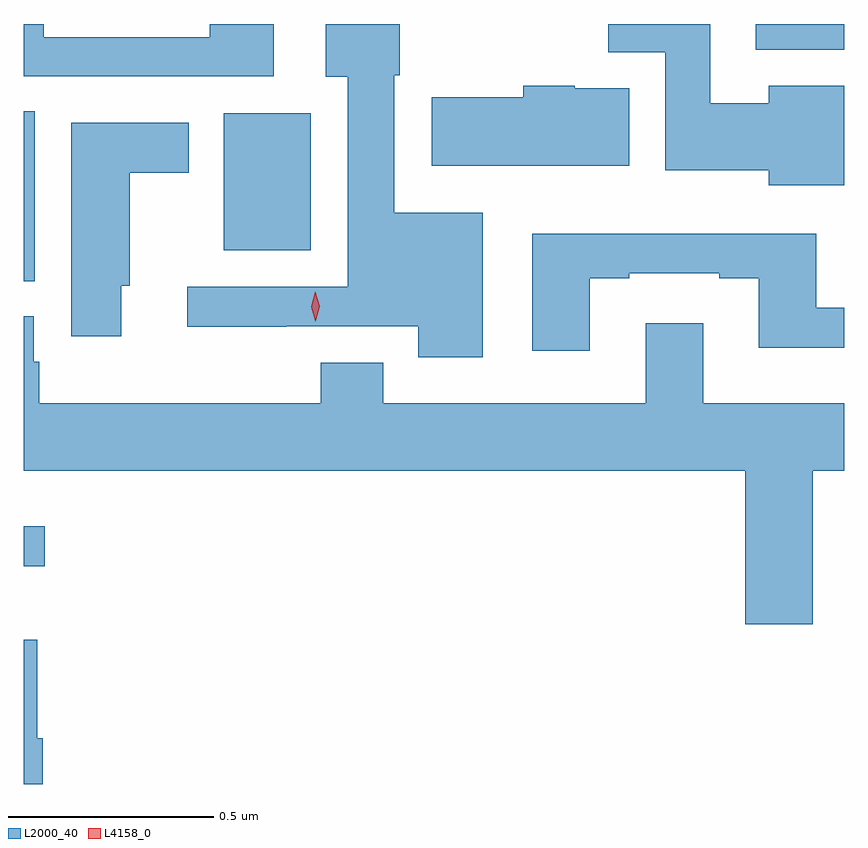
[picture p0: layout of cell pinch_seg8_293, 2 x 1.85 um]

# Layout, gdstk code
import gdstk
lib = gdstk.Library(unit=1e-6, precision=1e-09)
def R(c, l, rs):  # rectangles x0, y0, x1, y1
    for r in rs: c.add(gdstk.rectangle(r[:2], r[2:], *l))
def P(c, l, *ps):  # polygons
    for p in ps: c.add(gdstk.Polygon(p, *l))
L2000_40 = (2000, 40)
L4158_0 = (4158, 0)

pinch_seg8_293 = lib.new_cell('pinch_seg8_293')
R(pinch_seg8_293, L2000_40, [(510.901,1145.571,510.952,1145.668), (510.901,1146.266,510.928,1146.68), (511.388,1146.341,511.6,1146.676), (512.685,1146.83,512.901,1146.893)])
P(pinch_seg8_293, L2000_40, [(512.02,1146.433),(511.804,1146.433),(511.804,1146.768),(511.817,1146.768),(511.817,1146.893),(511.637,1146.893),(511.637,1146.764),(511.691,1146.764),(511.691,1146.252),(511.299,1146.252),(511.299,1146.155),(511.541,1146.155),(511.541,1146.156),(511.862,1146.156),(511.862,1146.081),(512.02,1146.081)],
  [(512.901,1146.742),(512.717,1146.742),(512.717,1146.7),(512.575,1146.7),(512.575,1146.893),(512.326,1146.893),(512.326,1146.824),(512.465,1146.824),(512.465,1146.536),(512.717,1146.536),(512.717,1146.5),(512.901,1146.5)],
  [(511.51,1146.893),(511.354,1146.893),(511.354,1146.861),(510.949,1146.861),(510.949,1146.893),(510.901,1146.893),(510.901,1146.765),(511.51,1146.765)],
  [(512.377,1146.736),(512.244,1146.736),(512.244,1146.742),(512.119,1146.742),(512.119,1146.714),(511.896,1146.714),(511.896,1146.548),(512.377,1146.548)],
  [(511.138,1146.255),(511.159,1146.255),(511.159,1146.53),(511.303,1146.53),(511.303,1146.652),(511.016,1146.652),(511.016,1146.132),(511.138,1146.132)],
  [(512.281,1146.273),(512.377,1146.273),(512.377,1146.285),(512.597,1146.285),(512.597,1146.273),(512.693,1146.273),(512.693,1146.104),(512.901,1146.104),(512.901,1146.201),(512.833,1146.201),(512.833,1146.382),(512.141,1146.382),(512.141,1146.096),(512.281,1146.096)],
  [(512.824,1145.804),(512.901,1145.804),(512.901,1145.968),(512.557,1145.968),(512.557,1146.163),(512.417,1146.163),(512.417,1145.968),(511.777,1145.968),(511.777,1146.067),(511.625,1146.067),(511.625,1145.968),(510.938,1145.968),(510.938,1146.069),(510.925,1146.069),(510.925,1146.181),(510.901,1146.181),(510.901,1145.804),(512.66,1145.804),(512.66,1145.43),(512.824,1145.43)],
  [(510.947,1145.152),(510.934,1145.152),(510.934,1145.392),(510.901,1145.392),(510.901,1145.04),(510.947,1145.04)])
P(pinch_seg8_293, L4158_0, [(511.612,1146.168),(511.612,1146.169),(511.602,1146.204),(511.611,1146.24),(511.611,1146.24),(511.611,1146.24),(511.622,1146.205),(511.613,1146.169)])

lib.write_gds('pinch_seg8_293.gds')
